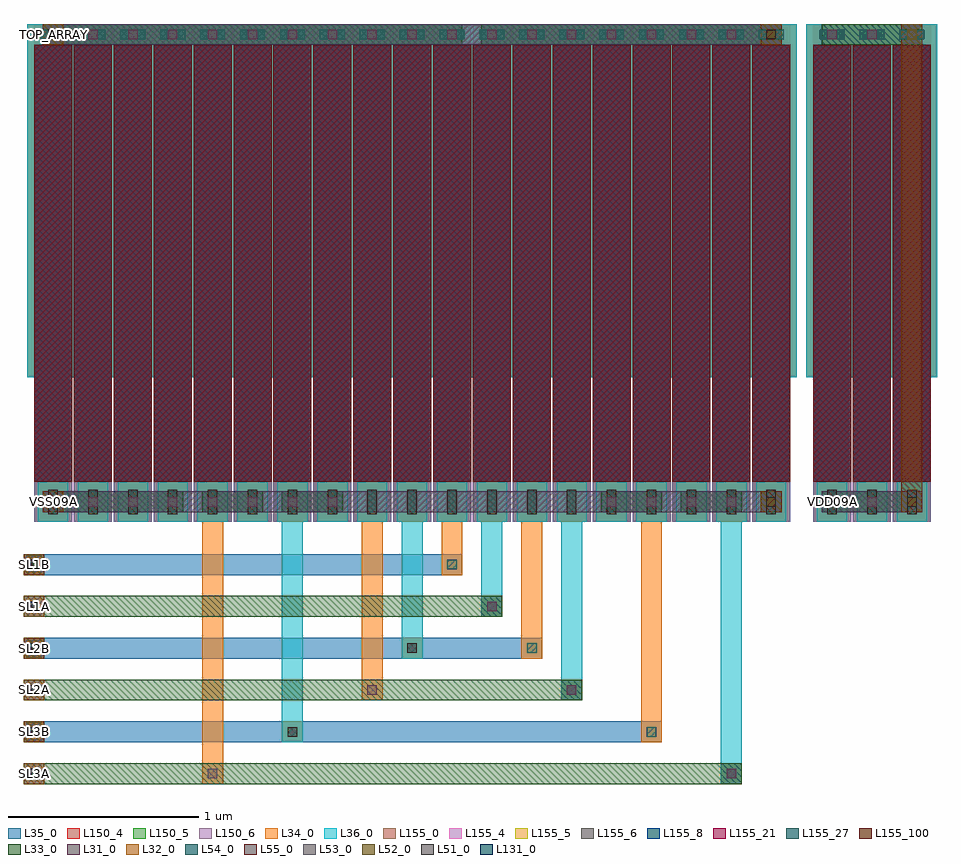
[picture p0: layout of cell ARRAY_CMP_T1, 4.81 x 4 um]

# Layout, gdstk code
from math import pi, radians
import gdstk
lib = gdstk.Library(unit=1e-6, precision=1e-09)
def R(c, l, rs):  # rectangles x0, y0, x1, y1
    for r in rs: c.add(gdstk.rectangle(r[:2], r[2:], *l))
def A(c, l, x, y, w, h, nx, ny, dx, dy):  # array of equal rectangles
    R(c, l, [(x+i*dx, y+j*dy, x+i*dx+w, y+j*dy+h) for i in range(nx) for j in range(ny)])
L31_0 = (31, 0)
L32_0 = (32, 0)
L33_0 = (33, 0)
L34_0 = (34, 0)
L35_0 = (35, 0)
L36_0 = (36, 0)
L51_0 = (51, 0)
L52_0 = (52, 0)
L53_0 = (53, 0)
L54_0 = (54, 0)
L55_0 = (55, 0)
L131_0 = (131, 0)
L150_4 = (150, 4)
L150_5 = (150, 5)
L150_6 = (150, 6)
L155_0 = (155, 0)
L155_4 = (155, 4)
L155_5 = (155, 5)
L155_6 = (155, 6)
L155_8 = (155, 8)
L155_21 = (155, 21)
L155_27 = (155, 27)
L155_100 = (155, 100)

m5_m4_cdns_622792440195 = lib.new_cell('M5_M4_CDNS_622792440195')
R(m5_m4_cdns_622792440195, L34_0, [(-0.07,-0.105,0.07,0.105)])
R(m5_m4_cdns_622792440195, L35_0, [(-0.07,-0.105,0.07,0.105)])
R(m5_m4_cdns_622792440195, L54_0, [(-0.025,-0.065,0.025,0.065)])

m6_m5_cdns_622792440196 = lib.new_cell('M6_M5_CDNS_622792440196')
R(m6_m5_cdns_622792440196, L35_0, [(-0.07,-0.105,0.07,0.105)])
R(m6_m5_cdns_622792440196, L36_0, [(-0.055,-0.105,0.055,0.105)])
R(m6_m5_cdns_622792440196, L55_0, [(-0.025,-0.065,0.025,0.065)])

m5_m4_cdns_622792440197 = lib.new_cell('M5_M4_CDNS_622792440197')
R(m5_m4_cdns_622792440197, L34_0, [(-0.095,-0.055,0.095,0.055)])
R(m5_m4_cdns_622792440197, L35_0, [(-0.12,-0.055,0.12,0.055)])
R(m5_m4_cdns_622792440197, L54_0, [(-0.065,-0.025,0.065,0.025)])

m6_m5_cdns_622792440190 = lib.new_cell('M6_M5_CDNS_622792440190')
R(m6_m5_cdns_622792440190, L35_0, [(-0.055,-0.055,0.055,0.055)])
R(m6_m5_cdns_622792440190, L36_0, [(-0.055,-0.055,0.055,0.055)])
R(m6_m5_cdns_622792440190, L55_0, [(-0.025,-0.025,0.025,0.025)])

cu1f = lib.new_cell('CU1F')
R(cu1f, L34_0, [(0.02,0,0.18,0.21), (-0.035,2.51,0.235,2.62)])
R(cu1f, L35_0, [(0.02,0,0.18,0.21), (-0.035,2.51,0.235,2.62)])
R(cu1f, L36_0, [(0.02,0,0.18,0.21), (-0.035,2.51,0.235,2.62)])
R(cu1f, L150_4, [(0,0,0.2,2.62)])
R(cu1f, L150_5, [(0,0,0.2,2.62)])
R(cu1f, L150_6, [(0,0,0.2,2.62)])
R(cu1f, L155_0, [(0,0.21,0.2,2.51)])
R(cu1f, L155_4, [(0,0.21,0.2,2.51)])
R(cu1f, L155_5, [(0,0.21,0.2,2.51)])
R(cu1f, L155_6, [(0,0.21,0.2,2.51)])
R(cu1f, L155_8, [(0,0.21,0.2,2.51)])
R(cu1f, L155_21, [(0,0.21,0.2,2.51)])
R(cu1f, L155_27, [(0,0.21,0.2,2.51)])
R(cu1f, L155_100, [(0,0.21,0.2,2.51)])
cu1f.add(gdstk.FlexPath([(0.205,2.59),(0.205,0.76)], 0.06, ends=(0.03, 0), simple_path=True, layer=34, datatype=0))  # L34_0
cu1f.add(gdstk.FlexPath([(0.1,2.41),(0.1,0)], 0.05, ends="flush", simple_path=True, layer=34, datatype=0))  # L34_0
cu1f.add(gdstk.FlexPath([(-0.005,2.59),(-0.005,0.76)], 0.06, ends=(0.03, 0), simple_path=True, layer=34, datatype=0))  # L34_0
cu1f.add(gdstk.FlexPath([(0.205,0.76),(0.205,2.59)], 0.06, ends=(0, 0.03), simple_path=True, layer=35, datatype=0))  # L35_0
cu1f.add(gdstk.FlexPath([(0.1,2.41),(0.1,0)], 0.05, ends="flush", simple_path=True, layer=35, datatype=0))  # L35_0
cu1f.add(gdstk.FlexPath([(-0.005,0.76),(-0.005,2.59)], 0.06, ends=(0, 0.03), simple_path=True, layer=35, datatype=0))  # L35_0
cu1f.add(gdstk.FlexPath([(0.205,0.76),(0.205,2.59)], 0.06, ends=(0, 0.03), simple_path=True, layer=36, datatype=0))  # L36_0
cu1f.add(gdstk.FlexPath([(0.1,2.41),(0.1,0)], 0.05, ends="flush", simple_path=True, layer=36, datatype=0))  # L36_0
cu1f.add(gdstk.FlexPath([(-0.005,0.76),(-0.005,2.59)], 0.06, ends=(0, 0.03), simple_path=True, layer=36, datatype=0))  # L36_0
cu1f.add(gdstk.Reference(m5_m4_cdns_622792440195, (0.1,0.105), rotation=pi, x_reflection=True))
cu1f.add(gdstk.Reference(m6_m5_cdns_622792440196, (0.1,0.105), rotation=pi, x_reflection=True))
cu1f.add(gdstk.Reference(m5_m4_cdns_622792440197, (0.1,2.565)))
cu1f.add(gdstk.Reference(m6_m5_cdns_622792440190, (0.1,2.565)))

m5_m4_cdns_622792440191 = lib.new_cell('M5_M4_CDNS_622792440191')
R(m5_m4_cdns_622792440191, L34_0, [(-0.055,-0.055,0.055,0.055)])
R(m5_m4_cdns_622792440191, L35_0, [(-0.055,-0.055,0.055,0.055)])
R(m5_m4_cdns_622792440191, L54_0, [(-0.025,-0.025,0.025,0.025)])

m4_m3_cdns_622792440192 = lib.new_cell('M4_M3_CDNS_622792440192')
R(m4_m3_cdns_622792440192, L33_0, [(-0.055,-0.055,0.055,0.055)])
R(m4_m3_cdns_622792440192, L34_0, [(-0.055,-0.055,0.055,0.055)])
R(m4_m3_cdns_622792440192, L53_0, [(-0.025,-0.025,0.025,0.025)])

m3_m2_cdns_622792440193 = lib.new_cell('M3_M2_CDNS_622792440193')
R(m3_m2_cdns_622792440193, L32_0, [(-0.055,-0.055,0.055,0.055)])
R(m3_m2_cdns_622792440193, L33_0, [(-0.055,-0.055,0.055,0.055)])
R(m3_m2_cdns_622792440193, L52_0, [(-0.025,-0.025,0.025,0.025)])

m2_m1_cdns_622792440194 = lib.new_cell('M2_M1_CDNS_622792440194')
R(m2_m1_cdns_622792440194, L31_0, [(-0.055,-0.055,0.055,0.055)])
R(m2_m1_cdns_622792440194, L32_0, [(-0.055,-0.055,0.055,0.055)])
R(m2_m1_cdns_622792440194, L51_0, [(-0.025,-0.025,0.025,0.025)])

array_cmp_t1 = lib.new_cell('ARRAY_CMP_T1')
A(array_cmp_t1, L131_0, -0.025, -1.35, 0.05, 0.05, 1, 6, 0, 0.22)
R(array_cmp_t1, L131_0, [(0.075,0.08,0.125,0.13), (4.175,0.08,4.225,0.13), (0.075,2.54,0.125,2.59)])
array_cmp_t1.add(gdstk.FlexPath([(-0.055,-1.105),(3.305,-1.105)], 0.11, ends="flush", simple_path=True, layer=35, datatype=0))  # L35_0
array_cmp_t1.add(gdstk.FlexPath([(-0.055,-0.665),(2.675,-0.665)], 0.11, ends="flush", simple_path=True, layer=35, datatype=0))  # L35_0
array_cmp_t1.add(gdstk.FlexPath([(-0.055,-0.225),(2.255,-0.225)], 0.11, ends="flush", simple_path=True, layer=35, datatype=0))  # L35_0
array_cmp_t1.add(gdstk.FlexPath([(-0.055,-1.325),(3.725,-1.325)], 0.11, ends="flush", simple_path=True, layer=33, datatype=0))  # L33_0
array_cmp_t1.add(gdstk.FlexPath([(0.885,0.105),(1.205,0.105)], 0.11, ends="flush", simple_path=True, layer=33, datatype=0))  # L33_0
array_cmp_t1.add(gdstk.FlexPath([(3.405,0.105),(3.725,0.105)], 0.11, ends="flush", simple_path=True, layer=33, datatype=0))  # L33_0
array_cmp_t1.add(gdstk.FlexPath([(1.305,0.105),(1.625,0.105)], 0.11, ends="flush", simple_path=True, layer=33, datatype=0))  # L33_0
array_cmp_t1.add(gdstk.FlexPath([(2.985,0.105),(3.305,0.105)], 0.11, ends="flush", simple_path=True, layer=33, datatype=0))  # L33_0
array_cmp_t1.add(gdstk.FlexPath([(-0.055,-0.885),(2.885,-0.885)], 0.11, ends="flush", simple_path=True, layer=33, datatype=0))  # L33_0
array_cmp_t1.add(gdstk.FlexPath([(-0.055,-0.445),(2.465,-0.445)], 0.11, ends="flush", simple_path=True, layer=33, datatype=0))  # L33_0
array_cmp_t1.add(gdstk.FlexPath([(0.045,2.565),(0.155,2.565)], 0.11, ends="flush", simple_path=True, layer=33, datatype=0))  # L33_0
array_cmp_t1.add(gdstk.FlexPath([(0.045,2.565),(0.365,2.565)], 0.11, ends="flush", simple_path=True, layer=33, datatype=0))  # L33_0
array_cmp_t1.add(gdstk.FlexPath([(0.255,2.565),(0.575,2.565)], 0.11, ends="flush", simple_path=True, layer=33, datatype=0))  # L33_0
array_cmp_t1.add(gdstk.FlexPath([(0.465,2.565),(0.785,2.565)], 0.11, ends="flush", simple_path=True, layer=33, datatype=0))  # L33_0
array_cmp_t1.add(gdstk.FlexPath([(0.675,2.565),(0.995,2.565)], 0.11, ends="flush", simple_path=True, layer=33, datatype=0))  # L33_0
array_cmp_t1.add(gdstk.FlexPath([(0.885,2.565),(1.205,2.565)], 0.11, ends="flush", simple_path=True, layer=33, datatype=0))  # L33_0
array_cmp_t1.add(gdstk.FlexPath([(1.095,2.565),(1.415,2.565)], 0.11, ends="flush", simple_path=True, layer=33, datatype=0))  # L33_0
array_cmp_t1.add(gdstk.FlexPath([(1.305,2.565),(1.625,2.565)], 0.11, ends="flush", simple_path=True, layer=33, datatype=0))  # L33_0
array_cmp_t1.add(gdstk.FlexPath([(1.515,2.565),(1.835,2.565)], 0.11, ends="flush", simple_path=True, layer=33, datatype=0))  # L33_0
array_cmp_t1.add(gdstk.FlexPath([(1.725,2.565),(2.045,2.565)], 0.11, ends="flush", simple_path=True, layer=33, datatype=0))  # L33_0
array_cmp_t1.add(gdstk.FlexPath([(1.935,2.565),(2.255,2.565)], 0.11, ends="flush", simple_path=True, layer=33, datatype=0))  # L33_0
array_cmp_t1.add(gdstk.FlexPath([(2.355,2.565),(2.675,2.565)], 0.11, ends="flush", simple_path=True, layer=33, datatype=0))  # L33_0
array_cmp_t1.add(gdstk.FlexPath([(2.565,2.565),(2.885,2.565)], 0.11, ends="flush", simple_path=True, layer=33, datatype=0))  # L33_0
array_cmp_t1.add(gdstk.FlexPath([(2.775,2.565),(3.095,2.565)], 0.11, ends="flush", simple_path=True, layer=33, datatype=0))  # L33_0
array_cmp_t1.add(gdstk.FlexPath([(2.985,2.565),(3.305,2.565)], 0.11, ends="flush", simple_path=True, layer=33, datatype=0))  # L33_0
array_cmp_t1.add(gdstk.FlexPath([(3.195,2.565),(3.515,2.565)], 0.11, ends="flush", simple_path=True, layer=33, datatype=0))  # L33_0
array_cmp_t1.add(gdstk.FlexPath([(3.405,2.565),(3.725,2.565)], 0.11, ends="flush", simple_path=True, layer=33, datatype=0))  # L33_0
array_cmp_t1.add(gdstk.FlexPath([(3.615,2.565),(3.935,2.565)], 0.11, ends="flush", simple_path=True, layer=33, datatype=0))  # L33_0
array_cmp_t1.add(gdstk.FlexPath([(3.825,2.565),(3.935,2.565)], 0.11, ends="flush", simple_path=True, layer=33, datatype=0))  # L33_0
array_cmp_t1.add(gdstk.FlexPath([(4.145,2.565),(4.465,2.565)], 0.11, ends="flush", simple_path=True, layer=33, datatype=0))  # L33_0
array_cmp_t1.add(gdstk.FlexPath([(4.145,0.105),(4.465,0.105)], 0.11, ends="flush", simple_path=True, layer=33, datatype=0))  # L33_0
array_cmp_t1.add(gdstk.FlexPath([(4.355,2.565),(4.675,2.565)], 0.11, ends="flush", simple_path=True, layer=33, datatype=0))  # L33_0
array_cmp_t1.add(gdstk.FlexPath([(4.355,0.105),(4.675,0.105)], 0.11, ends="flush", simple_path=True, layer=33, datatype=0))  # L33_0
array_cmp_t1.add(gdstk.FlexPath([(4.565,0.105),(4.675,0.105)], 0.11, ends="flush", simple_path=True, layer=33, datatype=0))  # L33_0
array_cmp_t1.add(gdstk.FlexPath([(0.045,0.105),(0.155,0.105)], 0.11, ends="flush", simple_path=True, layer=33, datatype=0))  # L33_0
array_cmp_t1.add(gdstk.FlexPath([(0.045,0.105),(0.365,0.105)], 0.11, ends="flush", simple_path=True, layer=33, datatype=0))  # L33_0
array_cmp_t1.add(gdstk.FlexPath([(0.255,0.105),(0.575,0.105)], 0.11, ends="flush", simple_path=True, layer=33, datatype=0))  # L33_0
array_cmp_t1.add(gdstk.FlexPath([(0.465,0.105),(0.785,0.105)], 0.11, ends="flush", simple_path=True, layer=33, datatype=0))  # L33_0
array_cmp_t1.add(gdstk.FlexPath([(3.825,0.105),(3.935,0.105)], 0.11, ends="flush", simple_path=True, layer=33, datatype=0))  # L33_0
array_cmp_t1.add(gdstk.FlexPath([(0.045,2.565),(3.935,2.565)], 0.11, ends="flush", simple_path=True, layer=31, datatype=0))  # L31_0
array_cmp_t1.add(gdstk.FlexPath([(4.145,0.105),(4.675,0.105)], 0.11, ends="flush", simple_path=True, layer=31, datatype=0))  # L31_0
array_cmp_t1.add(gdstk.FlexPath([(0.045,0.105),(3.935,0.105)], 0.11, ends="flush", simple_path=True, layer=31, datatype=0))  # L31_0
array_cmp_t1.add(gdstk.FlexPath([(4.62,0.05),(4.62,2.62)], 0.11, ends="flush", simple_path=True, layer=32, datatype=0))  # L32_0
array_cmp_t1.add(gdstk.FlexPath([(0.94,-1.38),(0.94,0.16)], 0.11, ends="flush", simple_path=True, layer=34, datatype=0))  # L34_0
array_cmp_t1.add(gdstk.FlexPath([(3.25,-1.16),(3.25,0.16)], 0.11, ends="flush", simple_path=True, layer=34, datatype=0))  # L34_0
array_cmp_t1.add(gdstk.FlexPath([(1.78,-0.94),(1.78,0.16)], 0.11, ends="flush", simple_path=True, layer=34, datatype=0))  # L34_0
array_cmp_t1.add(gdstk.FlexPath([(2.62,-0.72),(2.62,0.16)], 0.11, ends="flush", simple_path=True, layer=34, datatype=0))  # L34_0
array_cmp_t1.add(gdstk.FlexPath([(2.2,-0.28),(2.2,0.16)], 0.11, ends="flush", simple_path=True, layer=34, datatype=0))  # L34_0
array_cmp_t1.add(gdstk.FlexPath([(3.67,-1.38),(3.67,0.16)], 0.11, ends="flush", simple_path=True, layer=36, datatype=0))  # L36_0
array_cmp_t1.add(gdstk.FlexPath([(1.36,-1.16),(1.36,0.16)], 0.11, ends="flush", simple_path=True, layer=36, datatype=0))  # L36_0
array_cmp_t1.add(gdstk.FlexPath([(2.83,-0.94),(2.83,0.16)], 0.11, ends="flush", simple_path=True, layer=36, datatype=0))  # L36_0
array_cmp_t1.add(gdstk.FlexPath([(1.99,-0.72),(1.99,0.16)], 0.11, ends="flush", simple_path=True, layer=36, datatype=0))  # L36_0
array_cmp_t1.add(gdstk.FlexPath([(2.41,-0.5),(2.41,0.16)], 0.11, ends="flush", simple_path=True, layer=36, datatype=0))  # L36_0
array_cmp_t1.add(gdstk.Reference(cu1f, (4.52,0)))
array_cmp_t1.add(gdstk.Reference(cu1f, (4.31,0)))
array_cmp_t1.add(gdstk.Reference(cu1f, (4.1,0)))
array_cmp_t1.add(gdstk.Reference(cu1f, (3.78,0)))
array_cmp_t1.add(gdstk.Reference(cu1f, (0.63,0)))
array_cmp_t1.add(gdstk.Reference(cu1f, (0.42,0)))
array_cmp_t1.add(gdstk.Reference(cu1f, (0.21,0)))
array_cmp_t1.add(gdstk.Reference(cu1f, (0,0)))
array_cmp_t1.add(gdstk.Reference(cu1f, (2.1,0)))
array_cmp_t1.add(gdstk.Reference(cu1f, (2.31,0)))
array_cmp_t1.add(gdstk.Reference(cu1f, (1.89,0)))
array_cmp_t1.add(gdstk.Reference(cu1f, (2.52,0)))
array_cmp_t1.add(gdstk.Reference(cu1f, (1.68,0)))
array_cmp_t1.add(gdstk.Reference(cu1f, (2.73,0)))
array_cmp_t1.add(gdstk.Reference(cu1f, (1.47,0)))
array_cmp_t1.add(gdstk.Reference(cu1f, (2.94,0)))
array_cmp_t1.add(gdstk.Reference(cu1f, (1.26,0)))
array_cmp_t1.add(gdstk.Reference(cu1f, (3.15,0)))
array_cmp_t1.add(gdstk.Reference(cu1f, (1.05,0)))
array_cmp_t1.add(gdstk.Reference(cu1f, (3.36,0)))
array_cmp_t1.add(gdstk.Reference(cu1f, (0.84,0)))
array_cmp_t1.add(gdstk.Reference(cu1f, (3.57,0)))
array_cmp_t1.add(gdstk.Reference(m6_m5_cdns_622792440190, (2.83,-0.885)))
array_cmp_t1.add(gdstk.Reference(m6_m5_cdns_622792440190, (3.67,-1.325)))
array_cmp_t1.add(gdstk.Reference(m6_m5_cdns_622792440190, (2.83,0.105)))
array_cmp_t1.add(gdstk.Reference(m6_m5_cdns_622792440190, (2.41,-0.445)))
array_cmp_t1.add(gdstk.Reference(m6_m5_cdns_622792440190, (3.67,0.105)))
array_cmp_t1.add(gdstk.Reference(m6_m5_cdns_622792440190, (2.41,0.105)))
array_cmp_t1.add(gdstk.Reference(m6_m5_cdns_622792440190, (1.36,-1.105)))
array_cmp_t1.add(gdstk.Reference(m6_m5_cdns_622792440190, (1.99,-0.665)))
array_cmp_t1.add(gdstk.Reference(m6_m5_cdns_622792440190, (1.36,0.105)))
array_cmp_t1.add(gdstk.Reference(m6_m5_cdns_622792440190, (1.99,0.105)))
array_cmp_t1.add(gdstk.Reference(m5_m4_cdns_622792440191, (1.99,0.105)))
array_cmp_t1.add(gdstk.Reference(m5_m4_cdns_622792440191, (0,-0.665)))
array_cmp_t1.add(gdstk.Reference(m5_m4_cdns_622792440191, (1.36,0.105)))
array_cmp_t1.add(gdstk.Reference(m5_m4_cdns_622792440191, (2.2,-0.225)))
array_cmp_t1.add(gdstk.Reference(m5_m4_cdns_622792440191, (0,-0.225)))
array_cmp_t1.add(gdstk.Reference(m5_m4_cdns_622792440191, (0,-1.105)))
array_cmp_t1.add(gdstk.Reference(m5_m4_cdns_622792440191, (2.83,-0.885)))
array_cmp_t1.add(gdstk.Reference(m5_m4_cdns_622792440191, (3.67,-1.325)))
array_cmp_t1.add(gdstk.Reference(m5_m4_cdns_622792440191, (2.83,0.105)))
array_cmp_t1.add(gdstk.Reference(m5_m4_cdns_622792440191, (2.41,-0.445)))
array_cmp_t1.add(gdstk.Reference(m5_m4_cdns_622792440191, (3.67,0.105)))
array_cmp_t1.add(gdstk.Reference(m5_m4_cdns_622792440191, (3.25,-1.105)))
array_cmp_t1.add(gdstk.Reference(m5_m4_cdns_622792440191, (2.41,0.105)))
array_cmp_t1.add(gdstk.Reference(m5_m4_cdns_622792440191, (1.36,-1.105)))
array_cmp_t1.add(gdstk.Reference(m5_m4_cdns_622792440191, (2.62,-0.665)))
array_cmp_t1.add(gdstk.Reference(m5_m4_cdns_622792440191, (1.99,-0.665)))
array_cmp_t1.add(gdstk.Reference(m4_m3_cdns_622792440192, (4.62,2.565)))
array_cmp_t1.add(gdstk.Reference(m4_m3_cdns_622792440192, (4.41,0.105)))
array_cmp_t1.add(gdstk.Reference(m4_m3_cdns_622792440192, (4.41,2.565)))
array_cmp_t1.add(gdstk.Reference(m4_m3_cdns_622792440192, (4.2,0.105)))
array_cmp_t1.add(gdstk.Reference(m4_m3_cdns_622792440192, (4.2,2.565)))
array_cmp_t1.add(gdstk.Reference(m4_m3_cdns_622792440192, (3.88,2.565)))
array_cmp_t1.add(gdstk.Reference(m4_m3_cdns_622792440192, (0.1,2.565)))
array_cmp_t1.add(gdstk.Reference(m4_m3_cdns_622792440192, (3.88,2.565)))
array_cmp_t1.add(gdstk.Reference(m4_m3_cdns_622792440192, (3.67,2.565)))
array_cmp_t1.add(gdstk.Reference(m4_m3_cdns_622792440192, (3.46,2.565)))
array_cmp_t1.add(gdstk.Reference(m4_m3_cdns_622792440192, (3.25,2.565)))
array_cmp_t1.add(gdstk.Reference(m4_m3_cdns_622792440192, (3.04,2.565)))
array_cmp_t1.add(gdstk.Reference(m4_m3_cdns_622792440192, (2.83,2.565)))
array_cmp_t1.add(gdstk.Reference(m4_m3_cdns_622792440192, (2.62,2.565)))
array_cmp_t1.add(gdstk.Reference(m4_m3_cdns_622792440192, (2.41,2.565)))
array_cmp_t1.add(gdstk.Reference(m4_m3_cdns_622792440192, (3.88,0.105)))
array_cmp_t1.add(gdstk.Reference(m4_m3_cdns_622792440192, (2.2,2.565)))
array_cmp_t1.add(gdstk.Reference(m4_m3_cdns_622792440192, (1.99,2.565)))
array_cmp_t1.add(gdstk.Reference(m4_m3_cdns_622792440192, (1.78,2.565)))
array_cmp_t1.add(gdstk.Reference(m4_m3_cdns_622792440192, (0.1,0.105)))
array_cmp_t1.add(gdstk.Reference(m4_m3_cdns_622792440192, (1.57,2.565)))
array_cmp_t1.add(gdstk.Reference(m4_m3_cdns_622792440192, (1.36,2.565)))
array_cmp_t1.add(gdstk.Reference(m4_m3_cdns_622792440192, (1.15,2.565)))
array_cmp_t1.add(gdstk.Reference(m4_m3_cdns_622792440192, (3.88,0.105)))
array_cmp_t1.add(gdstk.Reference(m4_m3_cdns_622792440192, (0.94,2.565)))
array_cmp_t1.add(gdstk.Reference(m4_m3_cdns_622792440192, (0.73,0.105)))
array_cmp_t1.add(gdstk.Reference(m4_m3_cdns_622792440192, (0.73,2.565)))
array_cmp_t1.add(gdstk.Reference(m4_m3_cdns_622792440192, (0.52,0.105)))
array_cmp_t1.add(gdstk.Reference(m4_m3_cdns_622792440192, (0.52,2.565)))
array_cmp_t1.add(gdstk.Reference(m4_m3_cdns_622792440192, (0.31,0.105)))
array_cmp_t1.add(gdstk.Reference(m4_m3_cdns_622792440192, (0.1,0.105)))
array_cmp_t1.add(gdstk.Reference(m4_m3_cdns_622792440192, (0.31,2.565)))
array_cmp_t1.add(gdstk.Reference(m4_m3_cdns_622792440192, (4.62,0.105)))
array_cmp_t1.add(gdstk.Reference(m4_m3_cdns_622792440192, (0.1,2.565)))
array_cmp_t1.add(gdstk.Reference(m4_m3_cdns_622792440192, (0,-0.665)))
array_cmp_t1.add(gdstk.Reference(m4_m3_cdns_622792440192, (1.36,0.105)))
array_cmp_t1.add(gdstk.Reference(m4_m3_cdns_622792440192, (0,-1.105)))
array_cmp_t1.add(gdstk.Reference(m4_m3_cdns_622792440192, (0,-0.225)))
array_cmp_t1.add(gdstk.Reference(m4_m3_cdns_622792440192, (4.62,0.105)))
array_cmp_t1.add(gdstk.Reference(m4_m3_cdns_622792440192, (2.83,-0.885)))
array_cmp_t1.add(gdstk.Reference(m4_m3_cdns_622792440192, (1.78,-0.885)))
array_cmp_t1.add(gdstk.Reference(m4_m3_cdns_622792440192, (3.67,-1.325)))
array_cmp_t1.add(gdstk.Reference(m4_m3_cdns_622792440192, (0.94,-1.325)))
array_cmp_t1.add(gdstk.Reference(m4_m3_cdns_622792440192, (2.41,-0.445)))
array_cmp_t1.add(gdstk.Reference(m4_m3_cdns_622792440192, (3.67,0.105)))
array_cmp_t1.add(gdstk.Reference(m4_m3_cdns_622792440192, (3.46,0.105)))
array_cmp_t1.add(gdstk.Reference(m4_m3_cdns_622792440192, (1.15,0.105)))
array_cmp_t1.add(gdstk.Reference(m4_m3_cdns_622792440192, (3.25,0.105)))
array_cmp_t1.add(gdstk.Reference(m4_m3_cdns_622792440192, (0.94,0.105)))
array_cmp_t1.add(gdstk.Reference(m4_m3_cdns_622792440192, (3.04,0.105)))
array_cmp_t1.add(gdstk.Reference(m4_m3_cdns_622792440192, (1.57,0.105)))
array_cmp_t1.add(gdstk.Reference(m4_m3_cdns_622792440192, (4.62,0.105)))
array_cmp_t1.add(gdstk.Reference(m3_m2_cdns_622792440193, (4.62,2.565)))
array_cmp_t1.add(gdstk.Reference(m3_m2_cdns_622792440193, (3.88,2.565)))
array_cmp_t1.add(gdstk.Reference(m3_m2_cdns_622792440193, (0.1,2.565)))
array_cmp_t1.add(gdstk.Reference(m3_m2_cdns_622792440193, (3.88,0.105)))
array_cmp_t1.add(gdstk.Reference(m3_m2_cdns_622792440193, (0.1,0.105)))
array_cmp_t1.add(gdstk.Reference(m3_m2_cdns_622792440193, (4.62,0.105)))
array_cmp_t1.add(gdstk.Reference(m3_m2_cdns_622792440193, (0,-0.665)))
array_cmp_t1.add(gdstk.Reference(m3_m2_cdns_622792440193, (0,-1.105)))
array_cmp_t1.add(gdstk.Reference(m3_m2_cdns_622792440193, (0,-0.225)))
array_cmp_t1.add(gdstk.Reference(m3_m2_cdns_622792440193, (4.62,0.105)))
array_cmp_t1.add(gdstk.Reference(m3_m2_cdns_622792440193, (0,-0.885)))
array_cmp_t1.add(gdstk.Reference(m3_m2_cdns_622792440193, (0,-0.445)))
array_cmp_t1.add(gdstk.Reference(m3_m2_cdns_622792440193, (0,-1.325)))
array_cmp_t1.add(gdstk.Reference(m2_m1_cdns_622792440194, (3.88,2.565)))
array_cmp_t1.add(gdstk.Reference(m2_m1_cdns_622792440194, (0.1,2.565)))
array_cmp_t1.add(gdstk.Reference(m2_m1_cdns_622792440194, (3.88,0.105)))
array_cmp_t1.add(gdstk.Reference(m2_m1_cdns_622792440194, (0.1,0.105)))
array_cmp_t1.add(gdstk.Reference(m2_m1_cdns_622792440194, (4.62,0.105)))
array_cmp_t1.add(gdstk.Reference(m2_m1_cdns_622792440194, (0,-0.665)))
array_cmp_t1.add(gdstk.Reference(m2_m1_cdns_622792440194, (0,-1.105)))
array_cmp_t1.add(gdstk.Reference(m2_m1_cdns_622792440194, (0,-0.225)))
array_cmp_t1.add(gdstk.Reference(m2_m1_cdns_622792440194, (0,-0.885)))
array_cmp_t1.add(gdstk.Reference(m2_m1_cdns_622792440194, (4.62,0.105)))
array_cmp_t1.add(gdstk.Reference(m2_m1_cdns_622792440194, (0,-0.445)))
array_cmp_t1.add(gdstk.Reference(m2_m1_cdns_622792440194, (0,-1.325)))
array_cmp_t1.add(gdstk.Label('SL1A', (0,-0.445), layer=131, texttype=0))
array_cmp_t1.add(gdstk.Label('SL1B', (0,-0.225), layer=131, texttype=0))
array_cmp_t1.add(gdstk.Label('SL2A', (0,-0.885), layer=131, texttype=0))
array_cmp_t1.add(gdstk.Label('SL2B', (0,-0.665), layer=131, texttype=0))
array_cmp_t1.add(gdstk.Label('SL3A', (0,-1.325), layer=131, texttype=0))
array_cmp_t1.add(gdstk.Label('SL3B', (0,-1.105), layer=131, texttype=0))
array_cmp_t1.add(gdstk.Label('TOP_ARRAY', (0.1,2.565), layer=131, texttype=0))
array_cmp_t1.add(gdstk.Label('VDD09A', (4.2,0.105), layer=131, texttype=0))
array_cmp_t1.add(gdstk.Label('VSS09A', (0.1,0.105), layer=131, texttype=0))

lib.write_gds('ARRAY_CMP_T1.gds')
